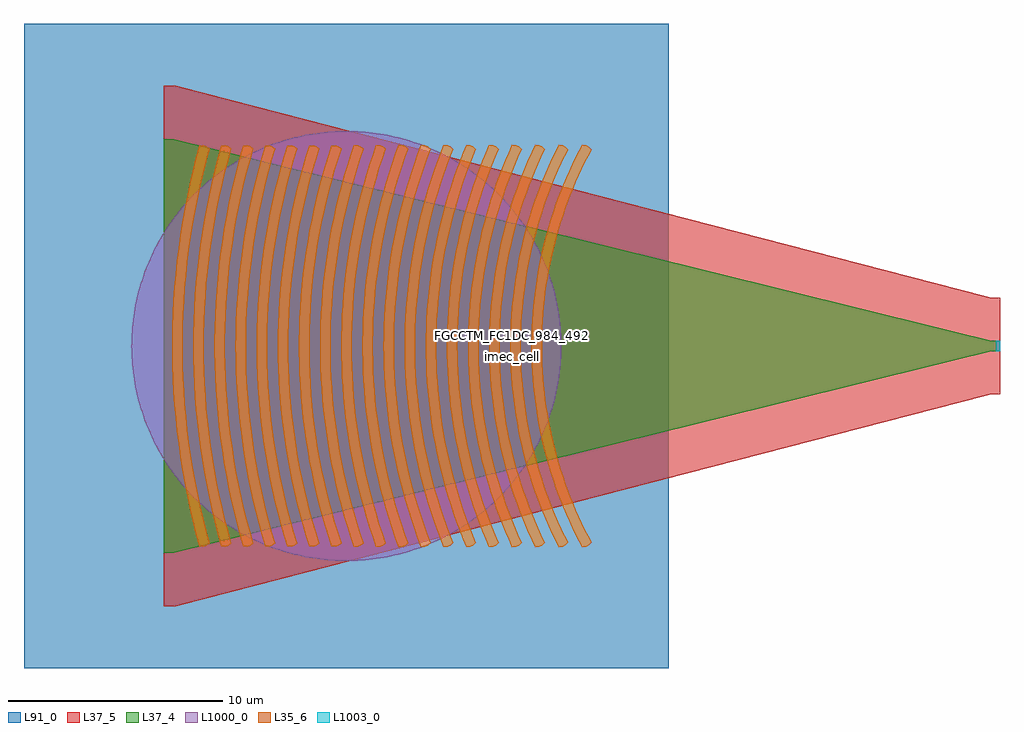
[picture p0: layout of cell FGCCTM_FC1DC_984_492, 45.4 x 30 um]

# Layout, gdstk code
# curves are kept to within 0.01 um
import gdstk
lib = gdstk.Library(unit=1e-6, precision=1e-09)
def R(c, l, rs):  # rectangles x0, y0, x1, y1
    for r in rs: c.add(gdstk.rectangle(r[:2], r[2:], *l))
def P(c, l, *ps):  # polygons
    for p in ps: c.add(gdstk.Polygon(p, *l))
L35_6 = (35, 6)
L37_4 = (37, 4)
L37_5 = (37, 5)
L91_0 = (91, 0)
L1000_0 = (1000, 0)
L1003_0 = (1003, 0)

fgcctm_fc1dc_984_492 = lib.new_cell('FGCCTM_FC1DC_984_492')
P(fgcctm_fc1dc_984_492, L35_6, [(10.966,-9.365),(10.652,-8.758),(10.359,-8.139),(9.96,-7.192),(9.722,-6.549),(9.506,-5.9),(9.225,-4.912),(8.995,-3.911),(8.871,-3.237),(8.77,-2.56),(8.693,-1.88),(8.64,-1.197),(8.604,-0.171),(8.622,0.855),(8.664,1.539),(8.729,2.22),(8.818,2.899),(8.93,3.575),(9.142,4.579),(9.406,5.572),(9.611,6.225),(9.838,6.872),(10.088,7.51),(10.359,8.139),(10.652,8.758),(10.966,9.365),(11.156,9.338),(11.271,9.277),(11.401,9.135),(10.948,8.239),(10.673,7.63),(10.419,7.012),(10.186,6.386),(9.975,5.752),(9.701,4.789),(9.477,3.813),(9.356,3.157),(9.258,2.496),(9.154,1.5),(9.114,0.834),(9.096,0.167),(9.102,-0.501),(9.131,-1.167),(9.183,-1.833),(9.258,-2.496),(9.356,-3.157),(9.477,-3.813),(9.701,-4.789),(9.975,-5.752),(10.186,-6.386),(10.419,-7.012),(10.673,-7.63),(10.948,-8.239),(11.401,-9.135),(11.271,-9.277),(11.156,-9.338)],
  [(9.866,-9.36),(9.402,-8.387),(9.121,-7.724),(8.863,-7.051),(8.521,-6.028),(8.323,-5.336),(8.148,-4.637),(7.933,-3.58),(7.821,-2.869),(7.733,-2.155),(7.648,-1.079),(7.62,0),(7.648,1.079),(7.733,2.155),(7.821,2.869),(7.933,3.58),(8.148,4.637),(8.323,5.336),(8.521,6.028),(8.863,7.051),(9.121,7.724),(9.402,8.387),(9.866,9.36),(10.057,9.337),(10.173,9.279),(10.306,9.14),(9.852,8.187),(9.577,7.539),(9.326,6.883),(8.991,5.884),(8.798,5.208),(8.628,4.527),(8.482,3.84),(8.36,3.148),(8.222,2.103),(8.14,1.053),(8.112,0),(8.14,-1.053),(8.222,-2.103),(8.36,-3.148),(8.482,-3.84),(8.628,-4.527),(8.798,-5.208),(8.991,-5.884),(9.326,-6.883),(9.577,-7.539),(9.852,-8.187),(10.306,-9.14),(10.173,-9.279),(10.057,-9.337)],
  [(8.777,-9.355),(8.466,-8.681),(8.177,-7.994),(7.789,-6.946),(7.456,-5.88),(7.179,-4.798),(6.958,-3.704),(6.843,-2.968),(6.753,-2.229),(6.666,-1.116),(6.637,0),(6.666,1.116),(6.753,2.229),(6.843,2.968),(6.958,3.704),(7.179,4.798),(7.456,5.88),(7.789,6.946),(8.177,7.994),(8.466,8.681),(8.777,9.355),(8.969,9.337),(9.086,9.281),(9.222,9.145),(8.772,8.148),(8.502,7.472),(8.255,6.787),(7.93,5.746),(7.659,4.689),(7.509,3.977),(7.383,3.26),(7.242,2.178),(7.157,1.091),(7.129,0),(7.157,-1.091),(7.242,-2.178),(7.383,-3.26),(7.509,-3.977),(7.659,-4.689),(7.93,-5.746),(8.255,-6.787),(8.502,-7.472),(8.772,-8.148),(9.222,-9.145),(9.086,-9.281),(8.969,-9.337)],
  [(7.699,-9.351),(7.244,-8.288),(6.843,-7.202),(6.499,-6.096),(6.213,-4.974),(5.985,-3.839),(5.816,-2.694),(5.707,-1.542),(5.667,-0.771),(5.654,0),(5.667,0.771),(5.707,1.542),(5.816,2.694),(5.985,3.839),(6.213,4.974),(6.499,6.096),(6.843,7.202),(7.244,8.288),(7.699,9.351),(7.891,9.336),(8.009,9.283),(8.148,9.149),(7.701,8.106),(7.309,7.043),(7.079,6.324),(6.873,5.598),(6.612,4.496),(6.409,3.383),(6.263,2.26),(6.175,1.132),(6.146,0),(6.175,-1.132),(6.263,-2.26),(6.409,-3.383),(6.612,-4.496),(6.873,-5.598),(7.079,-6.324),(7.309,-7.043),(7.701,-8.106),(8.148,-9.149),(8.009,-9.283),(7.891,-9.336)],
  [(6.629,-9.347),(6.175,-8.235),(5.779,-7.099),(5.442,-5.945),(5.165,-4.775),(4.949,-3.592),(4.794,-2.4),(4.701,-1.202),(4.67,0),(4.701,1.202),(4.794,2.4),(4.949,3.592),(5.165,4.775),(5.442,5.945),(5.779,7.099),(6.175,8.235),(6.629,9.347),(6.821,9.335),(6.94,9.284),(7.081,9.153),(6.636,8.061),(6.248,6.949),(5.918,5.819),(5.647,4.674),(5.435,3.516),(5.284,2.349),(5.193,1.176),(5.162,0),(5.193,-1.176),(5.284,-2.349),(5.435,-3.516),(5.647,-4.674),(5.918,-5.819),(6.248,-6.949),(6.636,-8.061),(7.081,-9.153),(6.94,-9.284),(6.821,-9.335)],
  [(5.566,-9.343),(5.113,-8.178),(4.72,-6.99),(4.389,-5.783),(4.121,-4.561),(3.917,-3.326),(3.777,-2.083),(3.72,-1.251),(3.687,0),(3.72,1.251),(3.777,2.083),(3.917,3.326),(4.121,4.561),(4.389,5.783),(4.72,6.99),(5.113,8.178),(5.566,9.343),(5.758,9.335),(5.879,9.286),(6.021,9.157),(5.576,8.012),(5.191,6.848),(4.968,6.061),(4.685,4.868),(4.464,3.663),(4.306,2.447),(4.211,1.225),(4.179,0),(4.211,-1.225),(4.306,-2.447),(4.464,-3.663),(4.685,-4.868),(4.968,-6.061),(5.191,-6.848),(5.576,-8.012),(6.021,-9.157),(5.879,-9.286),(5.758,-9.335)],
  [(4.51,-9.34),(4.2,-8.528),(3.788,-7.29),(3.441,-6.031),(3.16,-4.757),(2.945,-3.469),(2.798,-2.172),(2.719,-0.87),(2.704,0),(2.719,0.87),(2.798,2.172),(2.945,3.469),(3.16,4.757),(3.441,6.031),(3.788,7.29),(4.2,8.528),(4.51,9.34),(4.702,9.334),(4.823,9.287),(4.968,9.16),(4.521,7.958),(4.138,6.737),(3.918,5.913),(3.643,4.663),(3.433,3.401),(3.288,2.13),(3.229,1.279),(3.196,0),(3.229,-1.279),(3.288,-2.13),(3.433,-3.401),(3.643,-4.663),(3.918,-5.913),(4.138,-6.737),(4.521,-7.958),(4.968,-9.16),(4.823,-9.287),(4.702,-9.334)],
  [(3.459,-9.337),(3.002,-8.053),(2.735,-7.183),(2.392,-5.862),(2.118,-4.525),(1.975,-3.627),(1.82,-2.271),(1.756,-1.364),(1.721,0),(1.756,1.364),(1.82,2.271),(1.975,3.627),(2.118,4.525),(2.392,5.862),(2.735,7.183),(3.002,8.053),(3.459,9.337),(3.651,9.334),(3.773,9.288),(3.92,9.163),(3.47,7.9),(3.088,6.617),(2.871,5.751),(2.603,4.439),(2.404,3.115),(2.31,2.228),(2.228,0.892),(2.213,0),(2.228,-0.892),(2.31,-2.228),(2.404,-3.115),(2.603,-4.439),(2.871,-5.751),(3.088,-6.617),(3.47,-7.9),(3.92,-9.163),(3.773,-9.288),(3.651,-9.334)],
  [(2.413,-9.334),(1.963,-8.015),(1.7,-7.122),(1.365,-5.768),(1.181,-4.856),(1.028,-3.939),(0.859,-2.554),(0.762,-1.162),(0.738,-0.233),(0.762,1.162),(0.819,2.091),(0.907,3.016),(1.1,4.398),(1.365,5.768),(1.7,7.122),(1.963,8.015),(2.413,9.334),(2.606,9.333),(2.728,9.289),(2.876,9.166),(2.572,8.303),(2.175,6.992),(1.947,6.107),(1.664,4.767),(1.515,3.866),(1.349,2.507),(1.254,1.141),(1.23,0.228),(1.238,-0.685),(1.309,-2.052),(1.452,-3.414),(1.664,-4.767),(1.947,-6.107),(2.175,-6.992),(2.572,-8.303),(2.876,-9.166),(2.728,-9.289),(2.606,-9.333)],
  [(1.565,-9.333),(1.372,-9.331),(1.068,-8.431),(0.794,-7.519),(0.551,-6.599),(0.247,-5.204),(0.015,-3.795),(-0.144,-2.376),(-0.23,-0.952),(-0.246,0),(-0.23,0.952),(-0.144,2.376),(0.015,3.795),(0.247,5.204),(0.551,6.599),(0.794,7.519),(1.068,8.431),(1.372,9.331),(1.565,9.333),(1.687,9.29),(1.837,9.169),(1.536,8.281),(1.144,6.935),(0.822,5.57),(0.646,4.651),(0.442,3.264),(0.346,2.334),(0.282,1.402),(0.246,0),(0.282,-1.402),(0.346,-2.334),(0.442,-3.264),(0.646,-4.651),(0.822,-5.57),(1.144,-6.935),(1.536,-8.281),(1.837,-9.169),(1.687,-9.29)],
  [(0.527,-9.332),(0.335,-9.328),(0.177,-8.856),(-0.251,-7.417),(-0.493,-6.446),(-0.702,-5.468),(-0.95,-3.988),(-1.12,-2.498),(-1.212,-1),(-1.229,0),(-1.212,1),(-1.12,2.498),(-0.95,3.988),(-0.702,5.468),(-0.493,6.446),(-0.251,7.417),(0.177,8.856),(0.335,9.328),(0.527,9.332),(0.65,9.291),(0.801,9.172),(0.496,8.235),(0.101,6.814),(-0.219,5.374),(-0.39,4.406),(-0.583,2.944),(-0.669,1.965),(-0.72,0.983),(-0.737,0),(-0.72,-0.983),(-0.669,-1.965),(-0.583,-2.944),(-0.39,-4.406),(-0.219,-5.374),(0.101,-6.814),(0.496,-8.235),(0.801,-9.172),(0.65,-9.291)],
  [(-0.506,-9.332),(-0.699,-9.326),(-0.856,-8.84),(-1.147,-7.855),(-1.403,-6.862),(-1.722,-5.356),(-1.891,-4.344),(-2.078,-2.817),(-2.185,-1.282),(-2.211,-0.256),(-2.185,1.282),(-2.078,2.817),(-1.891,4.344),(-1.722,5.356),(-1.403,6.862),(-1.147,7.855),(-0.856,8.84),(-0.699,9.326),(-0.506,9.332),(-0.383,9.292),(-0.231,9.174),(-0.534,8.209),(-0.803,7.237),(-1.142,5.762),(-1.325,4.77),(-1.474,3.772),(-1.632,2.267),(-1.693,1.261),(-1.719,0.252),(-1.711,-0.756),(-1.632,-2.267),(-1.535,-3.272),(-1.404,-4.272),(-1.238,-5.267),(-0.924,-6.747),(-0.534,-8.209),(-0.231,-9.174),(-0.383,-9.292)],
  [(-1.537,-9.331),(-1.729,-9.323),(-2.035,-8.318),(-2.428,-6.787),(-2.74,-5.239),(-2.904,-4.199),(-3.082,-2.629),(-3.178,-1.053),(-3.196,0),(-3.178,1.053),(-3.082,2.629),(-2.904,4.199),(-2.74,5.239),(-2.428,6.787),(-2.035,8.318),(-1.729,9.323),(-1.537,9.331),(-1.413,9.293),(-1.26,9.177),(-1.561,8.183),(-1.828,7.181),(-2.162,5.664),(-2.341,4.643),(-2.484,3.617),(-2.592,2.587),(-2.686,1.036),(-2.704,0),(-2.686,-1.036),(-2.592,-2.587),(-2.484,-3.617),(-2.341,-4.643),(-2.162,-5.664),(-1.828,-7.181),(-1.561,-8.183),(-1.26,-9.177),(-1.413,-9.293)],
  [(-2.565,-9.331),(-2.757,-9.321),(-2.913,-8.805),(-3.33,-7.237),(-3.664,-5.649),(-3.758,-5.116),(-3.916,-4.046),(-4.038,-2.971),(-4.15,-1.352),(-4.178,-0.27),(-4.169,0.811),(-4.084,2.432),(-3.982,3.509),(-3.758,5.116),(-3.45,6.709),(-3.33,7.237),(-3.061,8.285),(-2.757,9.321),(-2.565,9.331),(-2.44,9.293),(-2.286,9.179),(-2.587,8.155),(-2.97,6.604),(-3.18,5.56),(-3.355,4.509),(-3.493,3.453),(-3.594,2.393),(-3.658,1.331),(-3.686,0.266),(-3.677,-0.799),(-3.631,-1.862),(-3.493,-3.453),(-3.355,-4.509),(-3.18,-5.56),(-2.97,-6.604),(-2.587,-8.155),(-2.286,-9.179),(-2.44,-9.293)],
  [(-3.59,-9.331),(-3.782,-9.319),(-3.938,-8.787),(-4.352,-7.171),(-4.582,-6.082),(-4.682,-5.535),(-4.855,-4.436),(-5.042,-2.778),(-5.119,-1.668),(-5.158,-0.556),(-5.162,0),(-5.158,0.556),(-5.119,1.668),(-5.042,2.778),(-4.855,4.436),(-4.682,5.535),(-4.582,6.082),(-4.352,7.171),(-3.938,8.787),(-3.782,9.319),(-3.59,9.331),(-3.465,9.294),(-3.309,9.181),(-3.61,8.125),(-3.873,7.061),(-4.098,5.989),(-4.287,4.91),(-4.5,3.28),(-4.595,2.189),(-4.651,1.095),(-4.67,0),(-4.651,-1.095),(-4.595,-2.189),(-4.5,-3.28),(-4.287,-4.91),(-4.098,-5.989),(-3.873,-7.061),(-3.61,-8.125),(-3.309,-9.181),(-3.465,-9.294)],
  [(-4.612,-9.33),(-4.804,-9.317),(-4.96,-8.769),(-5.108,-8.215),(-5.373,-7.101),(-5.699,-5.415),(-5.867,-4.282),(-5.996,-3.144),(-6.115,-1.431),(-6.144,-0.286),(-6.135,0.859),(-6.085,2.003),(-6.045,2.574),(-5.996,3.144),(-5.867,4.282),(-5.699,5.415),(-5.373,7.101),(-5.108,8.215),(-4.96,8.769),(-4.804,9.317),(-4.612,9.33),(-4.487,9.295),(-4.331,9.183),(-4.631,8.093),(-4.893,6.995),(-5.116,5.89),(-5.301,4.777),(-5.447,3.658),(-5.555,2.535),(-5.623,1.41),(-5.652,0.282),(-5.643,-0.846),(-5.594,-1.973),(-5.506,-3.097),(-5.301,-4.777),(-5.116,-5.89),(-4.893,-6.995),(-4.631,-8.093),(-4.331,-9.183),(-4.487,-9.295)],
  [(-5.633,-9.33),(-5.824,-9.316),(-5.981,-8.749),(-6.393,-7.028),(-6.617,-5.869),(-6.714,-5.287),(-6.878,-4.119),(-7.001,-2.946),(-7.083,-1.769),(-7.124,-0.59),(-7.129,0),(-7.124,0.59),(-7.083,1.769),(-7.001,2.946),(-6.878,4.119),(-6.714,5.287),(-6.617,5.869),(-6.393,7.028),(-5.981,8.749),(-5.824,9.316),(-5.633,9.33),(-5.507,9.295),(-5.35,9.184),(-5.651,8.059),(-5.911,6.926),(-6.133,5.784),(-6.314,4.636),(-6.455,3.482),(-6.556,2.323),(-6.617,1.162),(-6.637,0),(-6.617,-1.162),(-6.556,-2.323),(-6.455,-3.482),(-6.314,-4.636),(-6.133,-5.784),(-5.911,-6.926),(-5.651,-8.059),(-5.35,-9.184),(-5.507,-9.295)],
  [(-6.651,-9.33),(-6.843,-9.314),(-7,-8.728),(-7.284,-7.545),(-7.411,-6.95),(-7.633,-5.753),(-7.729,-5.152),(-7.888,-3.946),(-8.005,-2.735),(-8.079,-1.52),(-8.111,-0.304),(-8.111,0.304),(-8.079,1.52),(-8.005,2.735),(-7.888,3.946),(-7.729,5.152),(-7.633,5.753),(-7.411,6.95),(-7.147,8.138),(-7,8.728),(-6.843,9.314),(-6.651,9.33),(-6.525,9.296),(-6.367,9.186),(-6.669,8.023),(-6.929,6.851),(-7.148,5.672),(-7.326,4.486),(-7.462,3.294),(-7.556,2.098),(-7.608,0.9),(-7.619,0.3),(-7.608,-0.9),(-7.556,-2.098),(-7.462,-3.294),(-7.326,-4.486),(-7.148,-5.672),(-6.929,-6.851),(-6.669,-8.023),(-6.367,-9.186),(-6.525,-9.296)])
R(fgcctm_fc1dc_984_492, L37_4, [(30,-0.25,30.2,0.25), (30.2,-0.25,30.4,0.25)])
P(fgcctm_fc1dc_984_492, L37_4, [(-8,-9.625),(-8,9.625),(30,0.25),(30,-0.25)],
  [(-8.5,-9.65),(-8.5,9.65),(-8,9.625),(-8,-9.625)])
R(fgcctm_fc1dc_984_492, L37_5, [(30,-2.25,30.2,2.25), (30.2,-2.25,30.4,2.25)])
P(fgcctm_fc1dc_984_492, L37_5, [(-8,-12.125),(-8,12.125),(30,2.25),(30,-2.25)],
  [(-8,-12.125),(-8.5,-12.1),(-8.5,12.1),(-8,12.125)])
R(fgcctm_fc1dc_984_492, L91_0, [(-15,-15,15,15)])
P(fgcctm_fc1dc_984_492, L1000_0, [(0,-10),(-0.872,-9.962),(-1.392,-9.903),(-1.908,-9.816),(-2.756,-9.613),(-3.256,-9.455),(-3.746,-9.272),(-4.54,-8.91),(-5,-8.66),(-5.446,-8.387),(-5.878,-8.09),(-6.293,-7.771),(-6.691,-7.431),(-7.071,-7.071),(-7.431,-6.691),(-7.771,-6.293),(-8.09,-5.878),(-8.387,-5.446),(-8.66,-5),(-8.91,-4.54),(-9.272,-3.746),(-9.455,-3.256),(-9.613,-2.756),(-9.816,-1.908),(-9.903,-1.392),(-9.962,-0.872),(-10,0),(-9.962,0.872),(-9.903,1.392),(-9.816,1.908),(-9.613,2.756),(-9.455,3.256),(-9.272,3.746),(-8.91,4.54),(-8.66,5),(-8.387,5.446),(-8.09,5.878),(-7.771,6.293),(-7.431,6.691),(-7.071,7.071),(-6.691,7.431),(-6.293,7.771),(-5.878,8.09),(-5.446,8.387),(-5,8.66),(-4.54,8.91),(-3.746,9.272),(-3.256,9.455),(-2.756,9.613),(-1.908,9.816),(-1.392,9.903),(-0.872,9.962),(0,10),(0.872,9.962),(1.392,9.903),(1.908,9.816),(2.756,9.613),(3.256,9.455),(3.746,9.272),(4.54,8.91),(5,8.66),(5.446,8.387),(5.878,8.09),(6.293,7.771),(6.691,7.431),(7.071,7.071),(7.431,6.691),(7.771,6.293),(8.09,5.878),(8.387,5.446),(8.66,5),(8.91,4.54),(9.272,3.746),(9.455,3.256),(9.613,2.756),(9.816,1.908),(9.903,1.392),(9.962,0.872),(10,0),(9.962,-0.872),(9.903,-1.392),(9.816,-1.908),(9.613,-2.756),(9.455,-3.256),(9.272,-3.746),(8.91,-4.54),(8.66,-5),(8.387,-5.446),(8.09,-5.878),(7.771,-6.293),(7.431,-6.691),(7.071,-7.071),(6.691,-7.431),(6.293,-7.771),(5.878,-8.09),(5.446,-8.387),(5,-8.66),(4.54,-8.91),(3.746,-9.272),(3.256,-9.455),(2.756,-9.613),(1.908,-9.816),(1.392,-9.903),(0.872,-9.962)])
R(fgcctm_fc1dc_984_492, L1003_0, [(30.2,-0.25,30.4,0.25)])
fgcctm_fc1dc_984_492.add(gdstk.Label('FGCCTM_FC1DC_984_492', (7.7,0.5), layer=1002, texttype=0))
fgcctm_fc1dc_984_492.add(gdstk.Label('ISIPP50G_2_3_0', (7.7,0), layer=1002, texttype=0))
fgcctm_fc1dc_984_492.add(gdstk.Label('imec_cell', (7.7,-0.5), layer=1002, texttype=0))

lib.write_gds('FGCCTM_FC1DC_984_492.gds')
